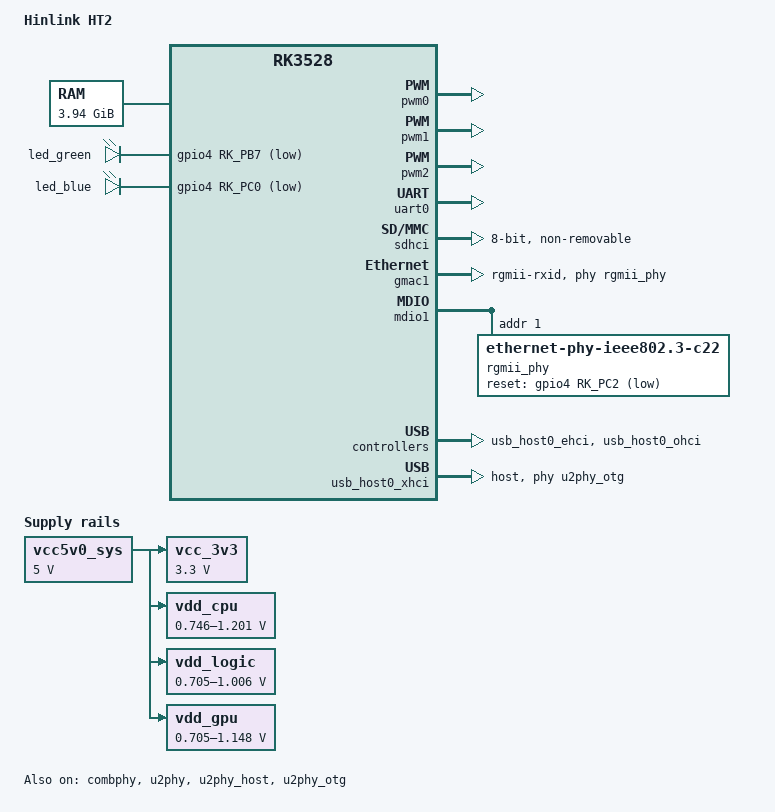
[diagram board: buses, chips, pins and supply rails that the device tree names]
// SPDX-License-Identifier: (GPL-2.0+ OR MIT)
/dts-v1/;

#include <dt-bindings/pwm/pwm.h>
#include "rk3528.dtsi"

/* Board wiring from the audited HT2 vendor FDT; SoC bindings from 6.18.
 * Headless bring-up: this kernel has no RK3528 TSADC/HDMI driver.
 * Do not enable high CPU OPPs without working thermal protection.
 */
/ {
	model = "Hinlink HT2";
	compatible = "hinlink,ht2", "rockchip,rk3528";

	aliases {
		ethernet0 = &gmac1;
		mmc0 = &sdmmc;
		mmc1 = &sdhci;
		serial0 = &uart0;
	};

	chosen {
		stdout-path = "serial0:1500000n8";
	};

	/* U-Boot replaces this with the probed RAM map. No captured zero tuples. */
	memory@200000 {
		device_type = "memory";
		reg = <0x0 0x00200000 0x0 0xfbe00000>;
	};

	vcc5v0_sys: vcc5v0-sys {
		compatible = "regulator-fixed";
		regulator-name = "vcc5v0_sys";
		regulator-min-microvolt = <5000000>;
		regulator-max-microvolt = <5000000>;
		regulator-always-on;
		regulator-boot-on;
	};

	vcc_3v3: vcc-3v3-s3 {
		compatible = "regulator-fixed";
		regulator-name = "vcc_3v3_s3";
		regulator-min-microvolt = <3300000>;
		regulator-max-microvolt = <3300000>;
		regulator-always-on;
		regulator-boot-on;
		vin-supply = <&vcc5v0_sys>;
	};

	vdd_cpu: vdd-cpu {
		compatible = "pwm-regulator";
		pwms = <&pwm1 0 5000 PWM_POLARITY_INVERTED>;
		pwm-supply = <&vcc5v0_sys>;
		regulator-name = "vdd_cpu";
		regulator-min-microvolt = <746000>;
		regulator-max-microvolt = <1201000>;
		regulator-always-on;
		regulator-boot-on;
		regulator-settling-time-up-us = <250>;
	};

	vdd_logic: vdd-logic {
		compatible = "pwm-regulator";
		pwms = <&pwm2 0 5000 PWM_POLARITY_INVERTED>;
		pwm-supply = <&vcc5v0_sys>;
		regulator-name = "vdd_logic";
		regulator-min-microvolt = <705000>;
		regulator-max-microvolt = <1006000>;
		regulator-always-on;
		regulator-boot-on;
		regulator-settling-time-up-us = <250>;
	};

	vdd_gpu: vdd-gpu {
		compatible = "pwm-regulator";
		pwms = <&pwm0 0 5000 PWM_POLARITY_INVERTED>;
		pwm-supply = <&vcc5v0_sys>;
		regulator-name = "vdd_gpu";
		regulator-min-microvolt = <705000>;
		regulator-max-microvolt = <1148000>;
		regulator-always-on;
		regulator-boot-on;
		regulator-settling-time-up-us = <250>;
	};

	vcc_sd: vcc-sd {
		compatible = "regulator-fixed";
		/* No external SD slot: do not request or drive the unused GPIO. */
		status = "disabled";
		regulator-name = "vcc_sd";
		regulator-min-microvolt = <3300000>;
		regulator-max-microvolt = <3300000>;
		gpio = <&gpio4 RK_PA1 GPIO_ACTIVE_LOW>;
		vin-supply = <&vcc_3v3>;
	};

	vccio_sd: vccio-sd {
		compatible = "regulator-gpio";
		status = "disabled";
		regulator-name = "vccio_sd";
		regulator-min-microvolt = <1800000>;
		regulator-max-microvolt = <3300000>;
		gpios = <&gpio4 RK_PB6 GPIO_ACTIVE_HIGH>;
		states = <1800000 0>, <3300000 1>;
		vin-supply = <&vcc5v0_sys>;
	};

	leds {
		compatible = "gpio-leds";
		led-work {
			label = "led_green";
			gpios = <&gpio4 RK_PB7 GPIO_ACTIVE_LOW>;
			linux,default-trigger = "heartbeat";
		};
		led-wlan {
			label = "led_blue";
			gpios = <&gpio4 RK_PC0 GPIO_ACTIVE_LOW>;
			linux,default-trigger = "default-on";
		};
	};
};

/* Vendor BL31 exports CPU clock 21 (not the newer SCMI ID 0).
 * Use the target kernel CRU ARMCLK rather than inventing a firmware ABI.
 */
&cpu0 {
	clocks = <&cru ARMCLK>;
	cpu-supply = <&vdd_cpu>;
};
&cpu1 {
	clocks = <&cru ARMCLK>;
	cpu-supply = <&vdd_cpu>;
};
&cpu2 {
	clocks = <&cru ARMCLK>;
	cpu-supply = <&vdd_cpu>;
};
&cpu3 {
	clocks = <&cru ARMCLK>;
	cpu-supply = <&vdd_cpu>;
};

/* Conservative bring-up OPP: covers vendor leakage-bin voltage requirements.
 * This is NOT a substitute for temperature monitoring or board testing.
 */
&cpu_opp_table {
	/delete-node/ opp-1416000000;
	/delete-node/ opp-1608000000;
	/delete-node/ opp-1800000000;
	/delete-node/ opp-2016000000;
	opp-1200000000 {
		opp-microvolt = <900000 900000 1100000>;
	};
};

&scmi {
	status = "disabled";
};

&pwm0 {
	pinctrl-names = "default";
	pinctrl-0 = <&pwm0m0_pins>;
	status = "okay";
};
&pwm1 {
	pinctrl-names = "default";
	pinctrl-0 = <&pwm1m0_pins>;
	status = "okay";
};
&pwm2 {
	pinctrl-names = "default";
	pinctrl-0 = <&pwm2m0_pins>;
	status = "okay";
};

&uart0 {
	pinctrl-names = "default";
	pinctrl-0 = <&uart0m0_xfer>;
	status = "okay";
};

&sdhci {
	bus-width = <8>;
	non-removable;
	no-sd;
	no-sdio;
	cap-mmc-highspeed;
	mmc-hs200-1_8v;
	/* HS400 tuning must be validated on hardware before enabling it. */
	status = "okay";
};

&sdmmc {
	bus-width = <4>;
	cap-sd-highspeed;
	disable-wp;
	max-frequency = <50000000>;
	vmmc-supply = <&vcc_sd>;
	vqmmc-supply = <&vccio_sd>;
	/* The audited HT2 has no external SD slot. Do not enable unused pins. */
	status = "disabled";
};

&gmac1 {
	pinctrl-names = "default";
	pinctrl-0 = <&rgmii_miim>, <&rgmii_rx_bus2>, <&rgmii_tx_bus2>,
		    <&rgmii_rgmii_clk>, <&rgmii_rgmii_bus>;
	phy-mode = "rgmii-rxid";
	clock_in_out = "output";
	tx_delay = <0x30>;
	phy-handle = <&rgmii_phy>;
	status = "okay";
};

&mdio1 {
	rgmii_phy: ethernet-phy@1 {
		compatible = "ethernet-phy-ieee802.3-c22";
		reg = <1>;
		reset-gpios = <&gpio4 RK_PC2 GPIO_ACTIVE_LOW>;
		reset-assert-us = <20000>;
		reset-deassert-us = <100000>;
	};
};

&combphy {
	status = "okay";
};
&u2phy {
	status = "okay";
};
&u2phy_host {
	status = "okay";
};
&u2phy_otg {
	status = "okay";
};
&usb_host0_ehci {
	status = "okay";
};
&usb_host0_ohci {
	status = "okay";
};
&usb_host0_xhci {
	phys = <&u2phy_otg>, <&combphy PHY_TYPE_USB3>;
	phy-names = "usb2-phy", "usb3-phy";
	dr_mode = "host";
	status = "okay";
};
